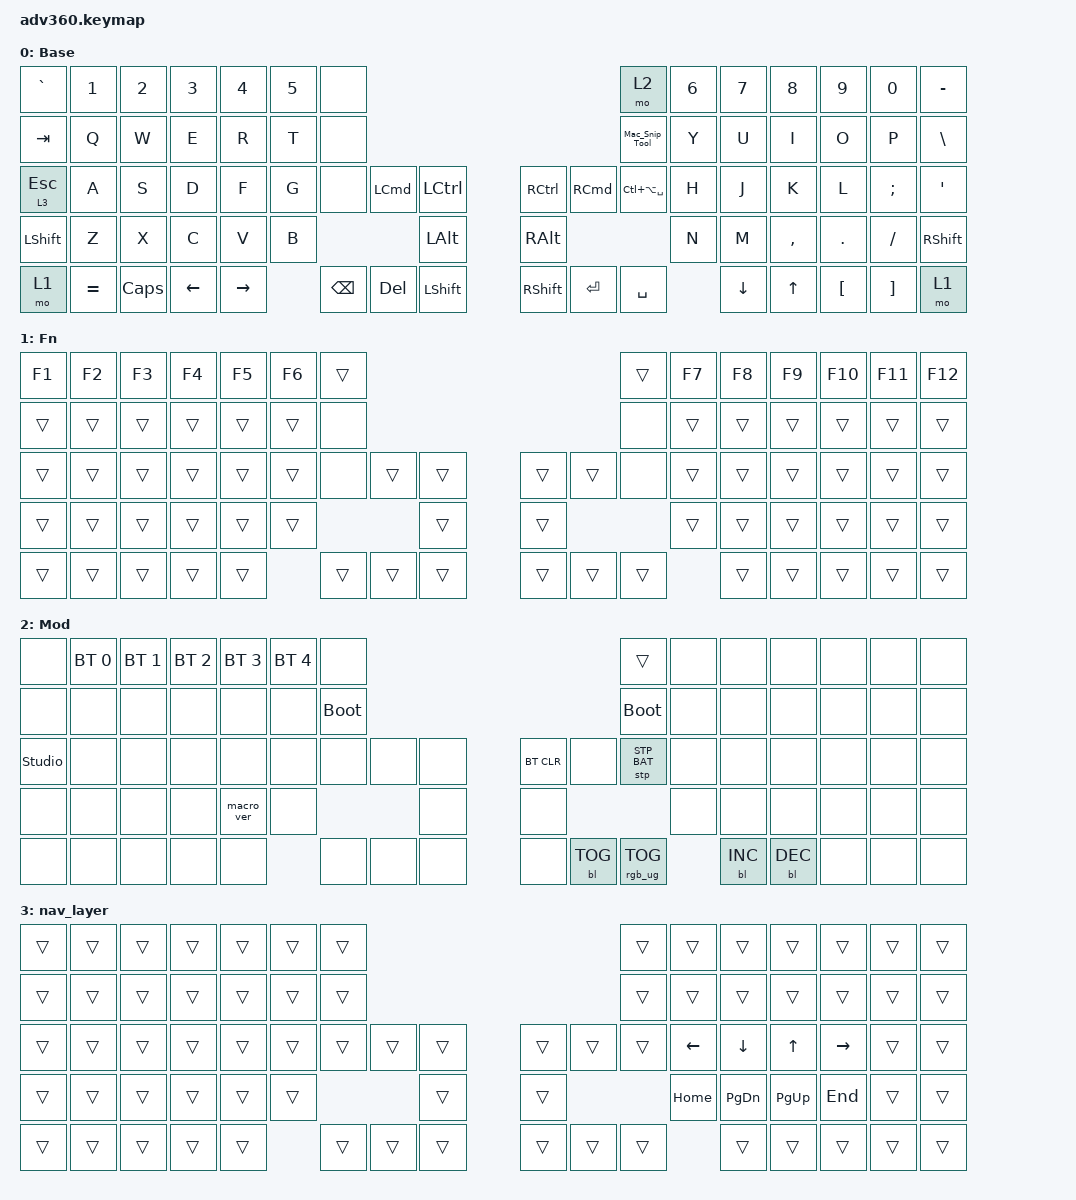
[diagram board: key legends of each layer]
#include <dt-bindings/zmk/stp.h>
#include <behaviors.dtsi>
#include <dt-bindings/zmk/backlight.h>
#include <dt-bindings/zmk/bt.h>
#include <dt-bindings/zmk/keys.h>
#include <dt-bindings/zmk/rgb.h>

/ {
    behaviors {
        #include "macros.dtsi"
      #include "version.dtsi"

        lt: layer_tap {
            compatible = "zmk,behavior-hold-tap";
            #binding-cells = <2>;
            flavor = "hold-preferred";
            tapping-term-ms = <200>;
            bindings = <&mo>, <&kp>;

            display-name = "Layer-Tap";
        };
    };

    combos {
        compatible = "zmk,combos";

        combo_caps {
            bindings = <&kp CAPS>;
            key-positions = <46 59>;
            timeout-ms = <100>;
        };
    };

    keymap {
        compatible = "zmk,keymap";

        default_layer {
            display-name = "Base";
            bindings = <
&kp GRAVE             &kp N1     &kp N2    &kp N3    &kp N4     &kp N5  &none                                                                                   &mo 2              &kp N6  &kp N7    &kp N8     &kp N9    &kp N0    &kp MINUS
&kp TAB               &kp Q      &kp W     &kp E     &kp R      &kp T   &none                                                                                   &Mac_Snip_Tool     &kp Y   &kp U     &kp I      &kp O     &kp P     &kp BSLH
&lt 3 ESC             &kp A      &kp S     &kp D     &kp F      &kp G   &none     &kp LEFT_COMMAND  &kp LEFT_CONTROL      &kp RIGHT_CONTROL  &kp RIGHT_COMMAND  &kp LC(LA(SPACE))  &kp H   &kp J     &kp K      &kp L     &kp SEMI  &kp SQT
&kp LSHFT             &kp Z      &kp X     &kp C     &kp V      &kp B                               &kp LALT              &kp RALT                                                 &kp N   &kp M     &kp COMMA  &kp DOT   &kp FSLH  &kp RSHFT
&mo 1                 &kp EQUAL  &kp CAPS  &kp LEFT  &kp RIGHT          &kp BSPC  &kp DEL           &kp LEFT_SHIFT        &kp RIGHT_SHIFT    &kp ENTER          &kp SPACE                  &kp DOWN  &kp UP     &kp LBKT  &kp RBKT  &mo 1
            >;
        };

        fn {
            display-name = "Fn";
            bindings = <
&kp F1  &kp F2  &kp F3  &kp F4  &kp F5  &kp F6  &trans                                      &trans  &kp F7  &kp F8  &kp F9  &kp F10  &kp F11  &kp F12
&trans  &trans  &trans  &trans  &trans  &trans  &none                                       &none   &trans  &trans  &trans  &trans   &trans   &trans
&trans  &trans  &trans  &trans  &trans  &trans  &none   &trans  &trans      &trans  &trans  &none   &trans  &trans  &trans  &trans   &trans   &trans
&trans  &trans  &trans  &trans  &trans  &trans                  &trans      &trans                  &trans  &trans  &trans  &trans   &trans   &trans
&trans  &trans  &trans  &trans  &trans          &trans  &trans  &trans      &trans  &trans  &trans          &trans  &trans  &trans   &trans   &trans
            >;
        };

        mod {
            display-name = "Mod";
            bindings = <
&none           &bt BT_SEL 0  &bt BT_SEL 1  &bt BT_SEL 2  &bt BT_SEL 3  &bt BT_SEL 4  &none                                                  &trans           &none  &none       &none       &none  &none  &none
&none           &none         &none         &none         &none         &none         &bootloader                                            &bootloader      &none  &none       &none       &none  &none  &none
&studio_unlock  &none         &none         &none         &none         &none         &none        &none  &none      &bt BT_CLR  &none       &stp STP_BAT     &none  &none       &none       &none  &none  &none
&none           &none         &none         &none         &macro_ver    &none                             &none      &none                                    &none  &none       &none       &none  &none  &none
&none           &none         &none         &none         &none                       &none        &none  &none      &none       &bl BL_TOG  &rgb_ug RGB_TOG         &bl BL_INC  &bl BL_DEC  &none  &none  &none
            >;
        };

        nav_layer {
            bindings = <
&trans  &trans  &trans  &trans  &trans  &trans  &trans                                      &trans  &trans    &trans         &trans       &trans     &trans  &trans
&trans  &trans  &trans  &trans  &trans  &trans  &trans                                      &trans  &trans    &trans         &trans       &trans     &trans  &trans
&trans  &trans  &trans  &trans  &trans  &trans  &trans  &trans  &trans      &trans  &trans  &trans  &kp LEFT  &kp DOWN       &kp UP       &kp RIGHT  &trans  &trans
&trans  &trans  &trans  &trans  &trans  &trans                  &trans      &trans                  &kp HOME  &kp PAGE_DOWN  &kp PAGE_UP  &kp END    &trans  &trans
&trans  &trans  &trans  &trans  &trans          &trans  &trans  &trans      &trans  &trans  &trans            &trans         &trans       &trans     &trans  &trans
            >;
        };
    };
};
